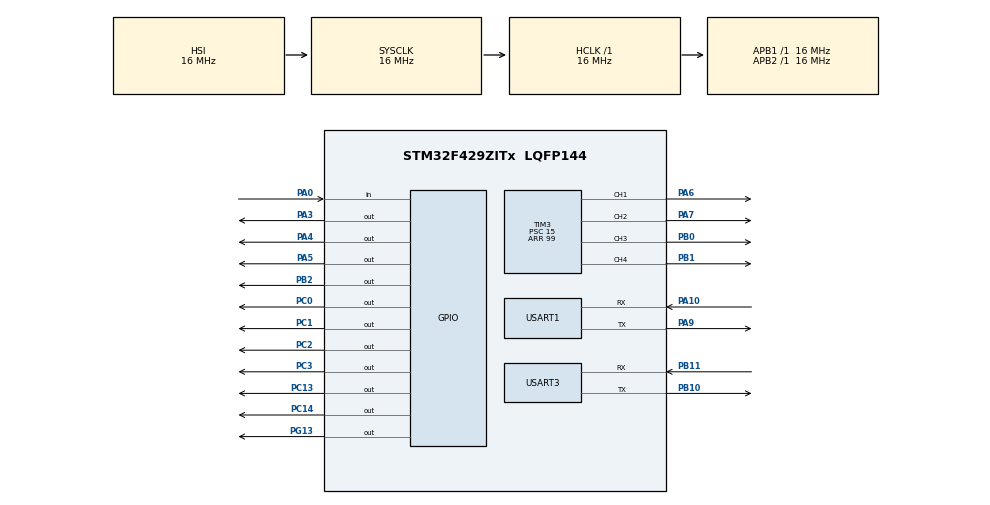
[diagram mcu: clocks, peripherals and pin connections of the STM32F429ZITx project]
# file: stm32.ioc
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Dma.Request0=USART3_RX
Dma.USART3_RX.0.Direction=DMA_PERIPH_TO_MEMORY
Dma.USART3_RX.0.FIFOMode=DMA_FIFOMODE_DISABLE
Dma.USART3_RX.0.Instance=DMA1_Stream1
Dma.USART3_RX.0.MemDataAlignment=DMA_MDATAALIGN_BYTE
Dma.USART3_RX.0.MemInc=DMA_MINC_ENABLE
Dma.USART3_RX.0.Mode=DMA_CIRCULAR
Dma.USART3_RX.0.PeriphDataAlignment=DMA_PDATAALIGN_BYTE
Dma.USART3_RX.0.PeriphInc=DMA_PINC_DISABLE
Dma.USART3_RX.0.Priority=DMA_PRIORITY_LOW
FREERTOS.Tasks01=StateMachine,24,256,StartStateMachineTask,Default,NULL,Dynamic,NULL,NULL
Mcu.Family=STM32F4
Mcu.Name=STM32F429ZITx
Mcu.Package=LQFP144
NVIC.DMA1_Stream1_IRQn=true\:5\:0\:false\:false\:true\:true\:false\:true\:true
NVIC.PriorityGroup=NVIC_PRIORITYGROUP_4
NVIC.TIM1_UP_TIM10_IRQn=true\:15\:0\:false\:false\:true\:false\:false\:true\:true
NVIC.TimeBase=TIM1_UP_TIM10_IRQn
NVIC.TimeBaseIP=TIM1
NVIC.USART3_IRQn=true\:5\:0\:false\:false\:true\:true\:true\:true\:true
PA0/WKUP.Signal=GPIO_Input
PA10.Mode=Asynchronous
PA10.Signal=USART1_RX
PA3.Signal=GPIO_Output
PA4.Signal=GPIO_Output
PA5.Signal=GPIO_Output
PA6.Signal=S_TIM3_CH1
PA7.Signal=S_TIM3_CH2
PA9.Mode=Asynchronous
PA9.Signal=USART1_TX
PB0.Signal=S_TIM3_CH3
PB1.Signal=S_TIM3_CH4
PB10.Mode=Asynchronous
PB10.Signal=USART3_TX
PB11.Mode=Asynchronous
PB11.Signal=USART3_RX
PB2/BOOT1.Signal=GPIO_Output
PC0.Signal=GPIO_Output
PC1.Signal=GPIO_Output
PC13.Signal=GPIO_Output
PC14/OSC32_IN.Signal=GPIO_Output
PC2.Signal=GPIO_Output
PC3.Signal=GPIO_Output
PG13.Signal=GPIO_Output
ProjectManager.HeapSize=0x200
ProjectManager.StackSize=0x400
ProjectManager.TargetToolchain=CMake
RCC.AHBFreq_Value=16000000
RCC.APB1Freq_Value=16000000
RCC.APB2Freq_Value=16000000
RCC.CortexFreq_Value=16000000
RCC.HSE_VALUE=25000000
RCC.HSI_VALUE=16000000
RCC.LSE_VALUE=32768
RCC.SYSCLKFreq_VALUE=16000000
RCC.VCOOutputFreq_Value=192000000
SH.S_TIM3_CH1.0=TIM3_CH1,PWM Generation1 CH1
SH.S_TIM3_CH2.0=TIM3_CH2,PWM Generation2 CH2
SH.S_TIM3_CH3.0=TIM3_CH3,PWM Generation3 CH3
SH.S_TIM3_CH4.0=TIM3_CH4,PWM Generation4 CH4
TIM3.AutoReloadPreload=TIM_AUTORELOAD_PRELOAD_ENABLE
TIM3.Channel-PWM\ Generation1\ CH1=TIM_CHANNEL_1
TIM3.Channel-PWM\ Generation2\ CH2=TIM_CHANNEL_2
TIM3.Channel-PWM\ Generation3\ CH3=TIM_CHANNEL_3
TIM3.Channel-PWM\ Generation4\ CH4=TIM_CHANNEL_4
TIM3.Period=99
TIM3.Prescaler=15
USART1.VirtualMode=VM_ASYNC
USART3.VirtualMode=VM_ASYNC
VP_FREERTOS_VS_CMSIS_V2.Mode=CMSIS_V2
VP_SYS_VS_tim1.Mode=TIM1
board=custom

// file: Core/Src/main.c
/* USER CODE BEGIN Header */
/**
  ******************************************************************************
  * @file           : main.c
  * @brief          : Main program body
  ******************************************************************************
  * @attention
  *
  * Copyright (c) 2026 STMicroelectronics.
  * All rights reserved.
  *
  * This software is licensed under terms that can be found in the LICENSE file
  * in the root directory of this software component.
  * If no LICENSE file comes with this software, it is provided AS-IS.
  *
  ******************************************************************************
  */
/* USER CODE END Header */
#include "main.h"
#include "cmsis_os.h"

/* USER CODE BEGIN Includes */
#include "include/led.h"
#include "include/logger.h"
#include "include/uart_config.h"
/* USER CODE END Includes */

TIM_HandleTypeDef htim3;

UART_HandleTypeDef huart1;
UART_HandleTypeDef huart3;
DMA_HandleTypeDef hdma_usart3_rx;

/* Definitions for StateMachine */
osThreadId_t StateMachineHandle;
const osThreadAttr_t StateMachine_attributes = {
  .name = "StateMachine",
  .stack_size = 256 * 4,
  .priority = (osPriority_t) osPriorityNormal,
};
/* USER CODE BEGIN PV */
osThreadId_t UartTaskHandle;
const osThreadAttr_t UartTask_attr = {
  .name = "UARTTask",
  .stack_size = 256 * 4,
  .priority = (osPriority_t) osPriorityNormal,
};
// #define UART_RX_BUF_SIZE 64
uint8_t uart3_rx_buf[UART_RX_BUF_SIZE];
osMessageQueueId_t uartRawQueueHandle;
osMessageQueueId_t uartCmdQueueHandle;
/* USER CODE END PV */

void SystemClock_Config(void);
static void MX_GPIO_Init(void);
static void MX_DMA_Init(void);
static void MX_USART1_UART_Init(void);
static void MX_TIM3_Init(void);
static void MX_USART3_UART_Init(void);
void StartStateMachineTask(void *argument);

/* USER CODE BEGIN PFP */
extern void UartTask(void* argument);
/* USER CODE END PFP */

int main(void)
{

  /* MCU Configuration--------------------------------------------------------*/

  /* Reset of all peripherals, Initializes the Flash interface and the Systick. */
  HAL_Init();

  /* Configure the system clock */
  SystemClock_Config();

  /* Initialize all configured peripherals */
  MX_GPIO_Init();
  MX_DMA_Init();
  MX_USART1_UART_Init();
  MX_TIM3_Init();
  MX_USART3_UART_Init();
  /* USER CODE BEGIN 2 */
  LOG_INFO("TAG", "Hello!");

  HAL_TIM_PWM_Start(&htim3, TIM_CHANNEL_1);
  HAL_TIM_PWM_Start(&htim3, TIM_CHANNEL_2);
  HAL_TIM_PWM_Start(&htim3, TIM_CHANNEL_3);
  HAL_TIM_PWM_Start(&htim3, TIM_CHANNEL_4);

  // STBY1
  HAL_GPIO_WritePin(GPIOC, GPIO_PIN_13, GPIO_PIN_SET);
  // STBY2
  HAL_GPIO_WritePin(GPIOC, GPIO_PIN_14, GPIO_PIN_SET);

  // Запускаємо DMA прийом на USART3
  HAL_UART_Receive_DMA(&huart3, uart3_rx_buf, UART_RX_BUF_SIZE);

  // Вмикаємо IDLE interrupt
  __HAL_UART_ENABLE_IT(&huart3, UART_IT_IDLE);
  /* USER CODE END 2 */

  /* Init scheduler */
  osKernelInitialize();

  /* USER CODE BEGIN RTOS_QUEUES */
  /* add queues, ... */
  uartRawQueueHandle = osMessageQueueNew(10, sizeof(uint16_t), NULL);
  uartCmdQueueHandle = osMessageQueueNew(10, sizeof(UartCmd), NULL);
  /* USER CODE END RTOS_QUEUES */

  /* Create the thread(s) */
  /* creation of StateMachine */
  StateMachineHandle = osThreadNew(StartStateMachineTask, NULL, &StateMachine_attributes);

  /* USER CODE BEGIN RTOS_THREADS */
  /* add threads, ... */
  UartTaskHandle = osThreadNew(UartTask, NULL, &UartTask_attr);
  /* USER CODE END RTOS_THREADS */

  /* Start scheduler */
  osKernelStart();

  /* We should never get here as control is now taken by the scheduler */

  /* Infinite loop */
  while (1)
  {

    /* USER CODE BEGIN 3 */
    // LED_Toggle();
    // HAL_Delay(500);
  }
  /* USER CODE END 3 */
}

void SystemClock_Config(void)
{
  RCC_OscInitTypeDef RCC_OscInitStruct = {0};
  RCC_ClkInitTypeDef RCC_ClkInitStruct = {0};

  /** Configure the main internal regulator output voltage
  */
  __HAL_RCC_PWR_CLK_ENABLE();
  __HAL_PWR_VOLTAGESCALING_CONFIG(PWR_REGULATOR_VOLTAGE_SCALE3);

  /** Initializes the RCC Oscillators according to the specified parameters
  * in the RCC_OscInitTypeDef structure.
  */
  RCC_OscInitStruct.OscillatorType = RCC_OSCILLATORTYPE_HSI;
  RCC_OscInitStruct.HSIState = RCC_HSI_ON;
  RCC_OscInitStruct.HSICalibrationValue = RCC_HSICALIBRATION_DEFAULT;
  RCC_OscInitStruct.PLL.PLLState = RCC_PLL_NONE;
  if (HAL_RCC_OscConfig(&RCC_OscInitStruct) != HAL_OK)
  {
    Error_Handler();
  }

  /** Initializes the CPU, AHB and APB buses clocks
  */
  RCC_ClkInitStruct.ClockType = RCC_CLOCKTYPE_HCLK|RCC_CLOCKTYPE_SYSCLK
                              |RCC_CLOCKTYPE_PCLK1|RCC_CLOCKTYPE_PCLK2;
  RCC_ClkInitStruct.SYSCLKSource = RCC_SYSCLKSOURCE_HSI;
  RCC_ClkInitStruct.AHBCLKDivider = RCC_SYSCLK_DIV1;
  RCC_ClkInitStruct.APB1CLKDivider = RCC_HCLK_DIV1;
  RCC_ClkInitStruct.APB2CLKDivider = RCC_HCLK_DIV1;

  if (HAL_RCC_ClockConfig(&RCC_ClkInitStruct, FLASH_LATENCY_0) != HAL_OK)
  {
    Error_Handler();
  }
}

static void MX_TIM3_Init(void)
{

  TIM_MasterConfigTypeDef sMasterConfig = {0};
  TIM_OC_InitTypeDef sConfigOC = {0};

  htim3.Instance = TIM3;
  htim3.Init.Prescaler = 15;
  htim3.Init.CounterMode = TIM_COUNTERMODE_UP;
  htim3.Init.Period = 99;
  htim3.Init.ClockDivision = TIM_CLOCKDIVISION_DIV1;
  htim3.Init.AutoReloadPreload = TIM_AUTORELOAD_PRELOAD_ENABLE;
  if (HAL_TIM_PWM_Init(&htim3) != HAL_OK)
  {
    Error_Handler();
  }
  sMasterConfig.MasterOutputTrigger = TIM_TRGO_RESET;
  sMasterConfig.MasterSlaveMode = TIM_MASTERSLAVEMODE_DISABLE;
  if (HAL_TIMEx_MasterConfigSynchronization(&htim3, &sMasterConfig) != HAL_OK)
  {
    Error_Handler();
  }
  sConfigOC.OCMode = TIM_OCMODE_PWM1;
  sConfigOC.Pulse = 0;
  sConfigOC.OCPolarity = TIM_OCPOLARITY_HIGH;
  sConfigOC.OCFastMode = TIM_OCFAST_DISABLE;
  if (HAL_TIM_PWM_ConfigChannel(&htim3, &sConfigOC, TIM_CHANNEL_1) != HAL_OK)
  {
    Error_Handler();
  }
  if (HAL_TIM_PWM_ConfigChannel(&htim3, &sConfigOC, TIM_CHANNEL_2) != HAL_OK)
  {
    Error_Handler();
  }
  if (HAL_TIM_PWM_ConfigChannel(&htim3, &sConfigOC, TIM_CHANNEL_3) != HAL_OK)
  {
    Error_Handler();
  }
  if (HAL_TIM_PWM_ConfigChannel(&htim3, &sConfigOC, TIM_CHANNEL_4) != HAL_OK)
  {
    Error_Handler();
  }
  HAL_TIM_MspPostInit(&htim3);

}

static void MX_USART1_UART_Init(void)
{

  huart1.Instance = USART1;
  huart1.Init.BaudRate = 115200;
  huart1.Init.WordLength = UART_WORDLENGTH_8B;
  huart1.Init.StopBits = UART_STOPBITS_1;
  huart1.Init.Parity = UART_PARITY_NONE;
  huart1.Init.Mode = UART_MODE_TX_RX;
  huart1.Init.HwFlowCtl = UART_HWCONTROL_NONE;
  huart1.Init.OverSampling = UART_OVERSAMPLING_16;
  if (HAL_UART_Init(&huart1) != HAL_OK)
  {
    Error_Handler();
  }

}

static void MX_USART3_UART_Init(void)
{

  huart3.Instance = USART3;
  huart3.Init.BaudRate = 115200;
  huart3.Init.WordLength = UART_WORDLENGTH_8B;
  huart3.Init.StopBits = UART_STOPBITS_1;
  huart3.Init.Parity = UART_PARITY_NONE;
  huart3.Init.Mode = UART_MODE_TX_RX;
  huart3.Init.HwFlowCtl = UART_HWCONTROL_NONE;
  huart3.Init.OverSampling = UART_OVERSAMPLING_16;
  if (HAL_UART_Init(&huart3) != HAL_OK)
  {
    Error_Handler();
  }

}

static void MX_DMA_Init(void)
{

  /* DMA controller clock enable */
  __HAL_RCC_DMA1_CLK_ENABLE();

  /* DMA interrupt init */
  /* DMA1_Stream1_IRQn interrupt configuration */
  HAL_NVIC_SetPriority(DMA1_Stream1_IRQn, 5, 0);
  HAL_NVIC_EnableIRQ(DMA1_Stream1_IRQn);

}

static void MX_GPIO_Init(void)
{
  GPIO_InitTypeDef GPIO_InitStruct = {0};

  /* GPIO Ports Clock Enable */
  __HAL_RCC_GPIOC_CLK_ENABLE();
  __HAL_RCC_GPIOA_CLK_ENABLE();
  __HAL_RCC_GPIOB_CLK_ENABLE();
  __HAL_RCC_GPIOG_CLK_ENABLE();

  /*Configure GPIO pin Output Level */
  HAL_GPIO_WritePin(GPIOC, GPIO_PIN_13|GPIO_PIN_14|GPIO_PIN_0|GPIO_PIN_1
                          |GPIO_PIN_2|GPIO_PIN_3, GPIO_PIN_RESET);

  /*Configure GPIO pin Output Level */
  HAL_GPIO_WritePin(GPIOA, GPIO_PIN_3|GPIO_PIN_4|GPIO_PIN_5, GPIO_PIN_RESET);

  /*Configure GPIO pin Output Level */
  HAL_GPIO_WritePin(GPIOB, GPIO_PIN_2, GPIO_PIN_RESET);

  /*Configure GPIO pin Output Level */
  HAL_GPIO_WritePin(GPIOG, GPIO_PIN_13, GPIO_PIN_RESET);

  /*Configure GPIO pins : PC13 PC14 PC0 PC1
                           PC2 PC3 */
  GPIO_InitStruct.Pin = GPIO_PIN_13|GPIO_PIN_14|GPIO_PIN_0|GPIO_PIN_1
                          |GPIO_PIN_2|GPIO_PIN_3;
  GPIO_InitStruct.Mode = GPIO_MODE_OUTPUT_PP;
  GPIO_InitStruct.Pull = GPIO_NOPULL;
  GPIO_InitStruct.Speed = GPIO_SPEED_FREQ_LOW;
  HAL_GPIO_Init(GPIOC, &GPIO_InitStruct);

  /*Configure GPIO pin : PA0 */
  GPIO_InitStruct.Pin = GPIO_PIN_0;
  GPIO_InitStruct.Mode = GPIO_MODE_INPUT;
  GPIO_InitStruct.Pull = GPIO_NOPULL;
  HAL_GPIO_Init(GPIOA, &GPIO_InitStruct);

  /*Configure GPIO pins : PA3 PA4 PA5 */
  GPIO_InitStruct.Pin = GPIO_PIN_3|GPIO_PIN_4|GPIO_PIN_5;
  GPIO_InitStruct.Mode = GPIO_MODE_OUTPUT_PP;
  GPIO_InitStruct.Pull = GPIO_NOPULL;
  GPIO_InitStruct.Speed = GPIO_SPEED_FREQ_LOW;
  HAL_GPIO_Init(GPIOA, &GPIO_InitStruct);

  /*Configure GPIO pin : PB2 */
  GPIO_InitStruct.Pin = GPIO_PIN_2;
  GPIO_InitStruct.Mode = GPIO_MODE_OUTPUT_PP;
  GPIO_InitStruct.Pull = GPIO_NOPULL;
  GPIO_InitStruct.Speed = GPIO_SPEED_FREQ_LOW;
  HAL_GPIO_Init(GPIOB, &GPIO_InitStruct);

  /*Configure GPIO pin : PG13 */
  GPIO_InitStruct.Pin = GPIO_PIN_13;
  GPIO_InitStruct.Mode = GPIO_MODE_OUTPUT_PP;
  GPIO_InitStruct.Pull = GPIO_NOPULL;
  GPIO_InitStruct.Speed = GPIO_SPEED_FREQ_LOW;
  HAL_GPIO_Init(GPIOG, &GPIO_InitStruct);

}

void StartStateMachineTask(void *argument)
{
  /* USER CODE BEGIN 5 */
  (void)argument;
  extern void app_main(void);
  app_main();
  /* USER CODE END 5 */
}

void HAL_TIM_PeriodElapsedCallback(TIM_HandleTypeDef *htim)
{
  if (htim->Instance == TIM1)
  {
    HAL_IncTick();
  }
}

void Error_Handler(void)
{
  __disable_irq();
  while (1)
  {
  }
}
